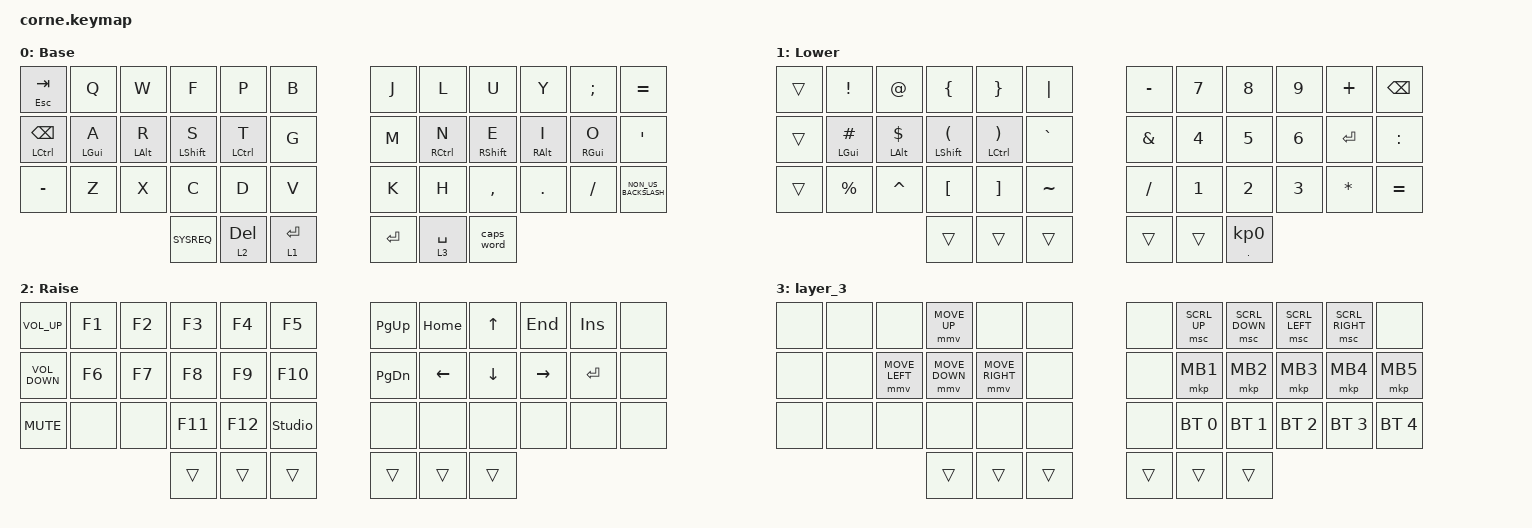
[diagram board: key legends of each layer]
/*
 * Copyright (c) 2020 The ZMK Contributors
 *
 * SPDX-License-Identifier: MIT
 */

#include <behaviors.dtsi>
#include <dt-bindings/zmk/bt.h>
#include <dt-bindings/zmk/keys.h>
#include <dt-bindings/zmk/pointing.h>

&mt { flavor = "tap-preferred"; };

/ {
    combos {
        compatible = "zmk,combos";
        esclamation {
            timeout-ms = <50>;
            key-positions = <2 14>;
            bindings = <&kp EXCLAMATION>;

    keymap {
        compatible = "zmk,keymap";

        default_layer {
            // -----------------------------------------------------------------------------------------
            // |  TAB |  Q  |  W  |  E  |  R  |  T  |   |  Y  |  U   |  I  |  O  |  P  | BKSP |
            // | CTRL |  A  |  S  |  D  |  F  |  G  |   |  H  |  J   |  K  |  L  |  ;  |  '   |
            // | SHFT |  Z  |  X  |  C  |  V  |  B  |   |  N  |  M   |  ,  |  .  |  /  | ESC  |
            //                    | GUI | LWR | SPC |   | ENT | RSE  | ALT |

            display-name = "Base";
            bindings = <
&mt ESCAPE TAB       &kp Q           &kp W           &kp F             &kp P         &kp B           &kp J    &kp L        &kp U              &kp Y            &kp SEMICOLON    &kp EQUAL
&mt LCTRL BACKSPACE  &mt LEFT_GUI A  &mt LEFT_ALT R  &mt LEFT_SHIFT S  &mt LCTRL T   &kp G           &kp M    &mt RCTRL N  &mt RIGHT_SHIFT E  &mt RIGHT_ALT I  &mt RIGHT_GUI O  &kp SQT
&kp MINUS            &kp Z           &kp X           &kp C             &kp D         &kp V           &kp K    &kp H        &kp COMMA          &kp DOT          &kp FSLH         &kp NON_US_BACKSLASH
                                                     &kp SYSREQ        &lt 2 DELETE  &lt 1 RETURN    &kp RET  &lt 3 SPACE  &caps_word
            >;
        };

        lower_layer {
            // -----------------------------------------------------------------------------------------
            // |  TAB |  1  |  2  |  3  |  4  |  5  |   |  6  |  7  |  8  |  9  |  0  | BKSP |
            // | BTCLR| BT1 | BT2 | BT3 | BT4 | BT5 |   | LFT | DWN |  UP | RGT |     |      |
            // | SHFT |     |     |     |     |     |   |     |     |     |     |     |      |
            //                    | GUI |     | SPC |   | ENT |     | ALT |

            display-name = "Lower";
            bindings = <
&trans  &kp EXCLAMATION    &kp AT_SIGN          &kp LEFT_BRACE                   &kp RIGHT_BRACE                     &kp PIPE     &kp MINUS      &kp N7        &kp N8                  &kp N9        &kp PLUS      &kp BSPC
&trans  &mt LEFT_GUI HASH  &mt LEFT_ALT DOLLAR  &mt LEFT_SHIFT LEFT_PARENTHESIS  &mt LEFT_CONTROL RIGHT_PARENTHESIS  &kp GRAVE    &kp AMPERSAND  &kp NUMBER_4  &kp N5                  &kp NUMBER_6  &kp ENTER     &kp COLON
&trans  &kp PERCENT        &kp CARET            &kp LEFT_BRACKET                 &kp RIGHT_BRACKET                   &kp TILDE    &kp SLASH      &kp NUMBER_1  &kp NUMBER_2            &kp NUMBER_3  &kp ASTERISK  &kp EQUAL
                                                &trans                           &trans                              &trans       &trans         &trans        &mt PERIOD KP_NUMBER_0
            >;
        };

        raise_layer {
            // -----------------------------------------------------------------------------------------
            // |  TAB |  !  |  @  |  #  |  $  |  %  |   |  ^  |  &  |  *  |  (  |  )  | BKSP |
            // | CTRL |     |     |     |     |     |   |  -  |  =  |  [  |  ]  |  \  |  `   |
            // | SHFT |     |     |     |     |     |   |  _  |  +  |  {  |  }  | "|" |  ~   |
            //                    | GUI |     | SPC |   | ENT |     | ALT |

            display-name = "Raise";
            bindings = <
&kp C_VOLUME_UP    &kp F1  &kp F2  &kp F3   &kp F4   &kp F5            &kp PAGE_UP  &kp HOME  &kp UP_ARROW  &kp END    &kp INS    &none
&kp C_VOLUME_DOWN  &kp F6  &kp F7  &kp F8   &kp F9   &kp F10           &kp PG_DN    &kp LEFT  &kp DOWN      &kp RIGHT  &kp ENTER  &none
&kp K_MUTE         &none   &none   &kp F11  &kp F12  &studio_unlock    &none        &none     &none         &none      &none      &none
                                   &trans   &trans   &trans            &trans       &trans    &trans
            >;
        };

        layer_3 {
            bindings = <
&none  &none  &none           &mmv MOVE_UP    &none            &none     &none   &msc SCRL_UP  &msc SCRL_DOWN  &msc SCRL_LEFT  &msc SCRL_RIGHT  &none
&none  &none  &mmv MOVE_LEFT  &mmv MOVE_DOWN  &mmv MOVE_RIGHT  &none     &none   &mkp MB1      &mkp MB2        &mkp MB3        &mkp MB4         &mkp MB5
&none  &none  &none           &none           &none            &none     &none   &bt BT_SEL 0  &bt BT_SEL 1    &bt BT_SEL 2    &bt BT_SEL 3     &bt BT_SEL 4
                              &trans          &trans           &trans    &trans  &trans        &trans
            >;
        };
    };
};
